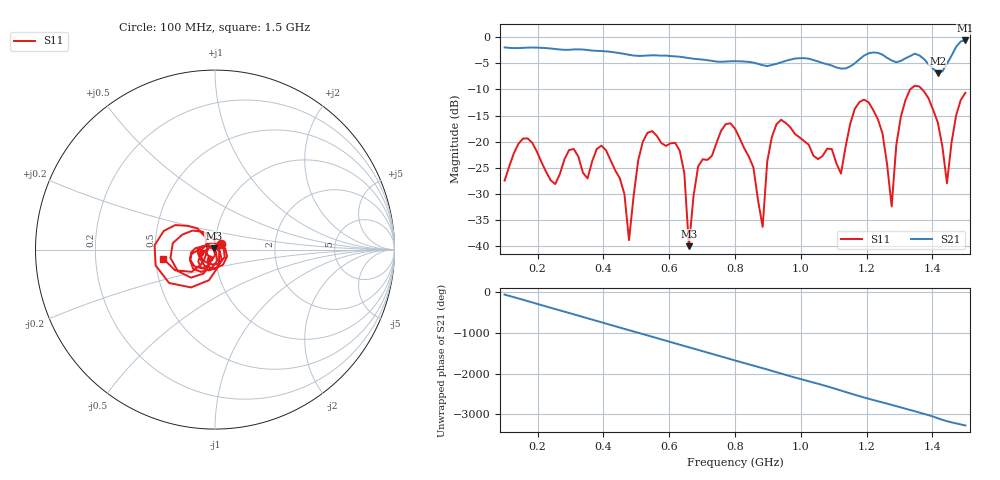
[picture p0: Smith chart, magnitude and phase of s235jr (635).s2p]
! NanoVNA-App
! Date: 2025-09-25 15:09:07
! Start: 100MHz Stop: 1,5GHz Points: 101
! S-Parameter data: F S11 S21 S12 S22
# Hz S RI R 50
!  Frequency  S11_Real  S11_Imag  S21_Real  S21_Imag  S12_Real  S12_Imag  S22_Real  S22_Imag
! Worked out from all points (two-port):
!   101 points, 100 MHz to 1.5 GHz, reference 50 ohm
!   highest |S21| = -0.62 dB at 1.5 GHz (marker M1); lowest = -6.9 dB at 1.416 GHz (marker M2)
!   |S21| within 3 dB of the highest: start of sweep to 605.3 MHz; 1.19 GHz to 1.254 GHz (64.33 MHz wide, 5.26 % of centre) (the widest 2 of 4)
!   lowest |S11| = -40.0 dB at 660 MHz (marker M3), VSWR 1.02, Z = 49.2 + j0.639 ohm
!   |S11| at or under -10 dB: start of sweep to 1.332 GHz; 1.369 GHz to end of sweep
!   S12 and S22 are empty: the file has one direction only
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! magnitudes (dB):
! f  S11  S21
! 100 MHz  -27.5  -2.0
! 156 MHz  -19.4  -2.0
! 338 MHz  -26.0  -2.4
! 408 MHz  -21.6  -2.7
! 478 MHz  -38.9  -3.4
! 520 MHz  -20.0  -3.6
! 576 MHz  -20.3  -3.5
! 632 MHz  -21.7  -3.7
! 660 MHz  -40.0  -4.0
! 688 MHz  -24.8  -4.2
! 800 MHz  -17.5  -4.6
! 884 MHz  -36.3  -5.4
! 926 MHz  -16.7  -5.1
! 1.038 GHz  -22.7  -4.4
! 1.122 GHz  -26.1  -6.0
! 1.206 GHz  -12.5  -3.1
! 1.276 GHz  -32.4  -4.5
! 1.29 GHz  -20.7  -4.8
! 1.332 GHz  -10.0  -3.6
! 1.416 GHz  -16.3  -6.9
! 1.444 GHz  -28.0  -5.1
! 1.5 GHz  -10.7  -0.6
